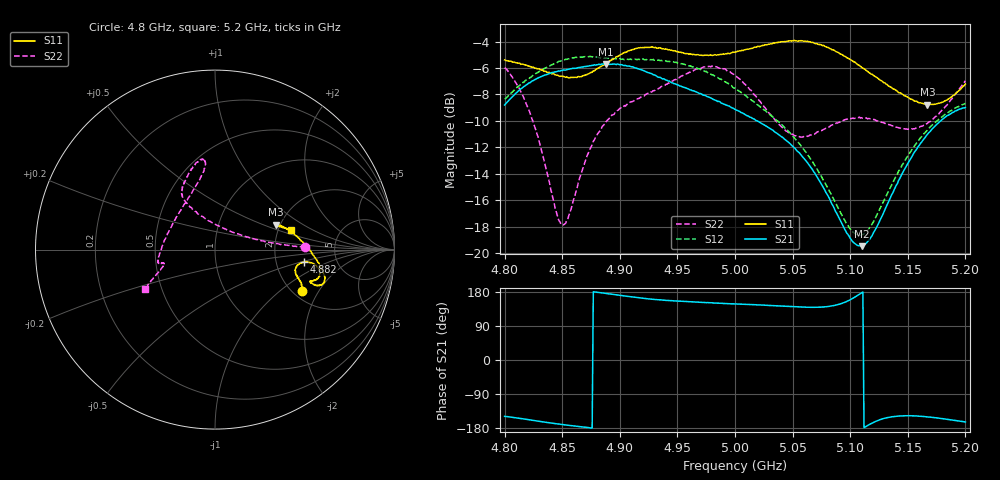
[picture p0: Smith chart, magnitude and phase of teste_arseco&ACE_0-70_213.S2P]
! Network Analyzer HP8722D
! Hewlett-Packard
! Data name: Linha & Wilkinson
! Saver's name: Rodrigo Anjos
! Comments: Teste da utilização de aquisição
! continua pelo VNA HP8722D
! Time and date: 8/5/2025 14:32
!  Frequency  S11  S21  S12  S22
# HZ  S  MA R 50
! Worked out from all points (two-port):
!   401 points, 4.8 GHz to 5.2 GHz, reference 50 ohm
!   highest |S21| = -5.69 dB at 4.888 GHz (marker M1); lowest = -19.5 dB at 5.11 GHz (marker M2)
!   |S21| within 3 dB of the highest: 4.801 GHz to 4.989 GHz (188.1 MHz wide, 3.84 % of centre)
!   lowest |S11| = -8.8 dB at 5.167 GHz (marker M3), VSWR 2.15, Z = 94.6 + j30.2 ohm
!   |S11| at or under -10 dB: nowhere
!   |S22| runs from -17.9 to -5.9 dB; largest |S21 - S12| = 1.1
!   S11 on the Smith chart (normalised r, x): 4.8 GHz: 2.25, -1.45; 4.882 GHz: 2.91, -0.54; 5.2 GHz: 2.33, +0.64
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4.8e9  0.5377 -25.2  0.3632 -148.7  0.3825 10.6  0.5016 1.3
4.812e9  0.5233 -22.2  0.4104 -153.5  0.4268 8.9  0.4241 2.7
4.823e9  0.5061 -20.5  0.4446 -158.6  0.4628 7.4  0.3288 6.2
4.845e9  0.4708 -16.6  0.485 -168.3  0.5233 3.7  0.1425 41.2
4.849e9  0.4666 -16.1  0.4904 -169.9  0.5334 3.2  0.1287 58.4
4.855e9  0.4612 -14.3  0.4952 -172.1  0.5428 2.3  0.1355 84.5
4.867e9  0.4652 -10.9  0.5053 -176.3  0.5506 0.5  0.2028 112.4
4.882e9  0.5023 -7.9  0.5182 178.0  0.5494 -0.6  0.2869 120.9
4.888e9  0.5208 -7.6  0.5193 175.6  0.5478 -0.9  0.3132 121.7
4.914e9  0.5941 -11.3  0.5013 165.0  0.5398 -0.3  0.3812 119.1
4.934e9  0.5971 -15.5  0.4621 158.9  0.537 -1.4  0.4201 113.1
4.974e9  0.5602 -18.5  0.3947 151.6  0.4856 -4.9  0.5061 99.6
5e9  0.5753 -19.3  0.3495 147.9  0.4213 -5.1  0.4703 96.8
5.045e9  0.6324 -17.4  0.2655 141.5  0.2929 3.2  0.289 132.9
5.067e9  0.6262 -13.3  0.2077 139.0  0.223 9.5  0.2808 164.6
5.098e9  0.5461 -2.9  0.1179 156.2  0.1275 37.0  0.3227 -170.4
5.11e9  0.5038 2.8  0.1064 177.3  0.1173 60.8  0.3251 -167.1
5.119e9  0.4741 7.4  0.1164 -166.4  0.1289 78.1  0.3208 -165.9
5.134e9  0.4273 14.5  0.1589 -150.9  0.1741 94.8  0.3058 -165.8
5.167e9  0.3646 22.3  0.2809 -150.2  0.2924 102.6  0.3094 -161.5
5.182e9  0.3761 20.4  0.3259 -155.5  0.3339 102.7  0.3555 -156.9
5.2e9  0.4355 14.8  0.3556 -163.4  0.3681 103.0  0.4485 -150.5
